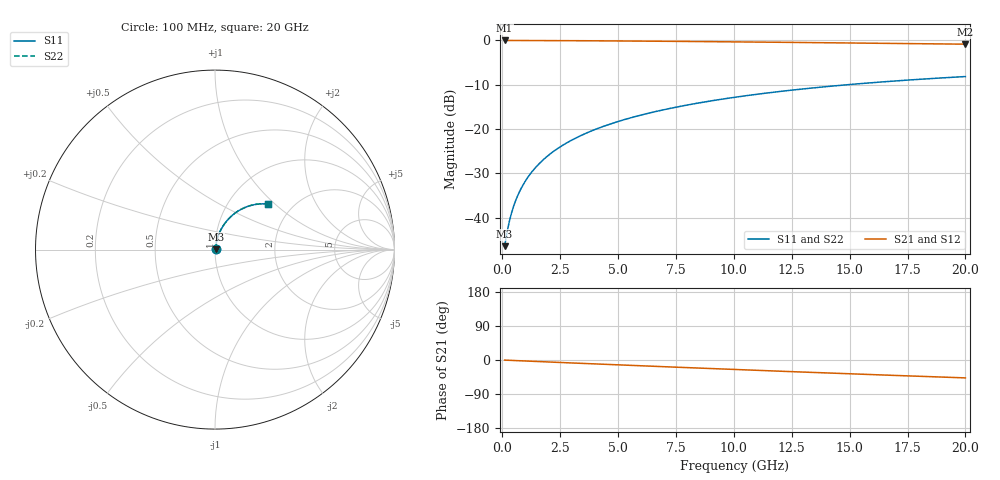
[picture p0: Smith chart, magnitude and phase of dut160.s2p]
! Touchstone file exported from HFSS 2026.1.0
!  File:  C:/ffzhzh/LocalFiles/Ansys_Project_Files/temp_train_TMRDL_160_1782983280_42984.aedt
!  Generated:  05:09:18 PM Jul  2, 2026
!  Design:  TMRDL
!  Project:  temp_train_TMRDL_160_1782983280_42984
! Variables:
!  h_bsmrdl = 2um
!  h_ox = 20um
!  h_rdl = 5um
!  h_sub = 80um
!  h_tmrdl = 5.95um
!  h_tsv = 80um
!  h_via = 3um
!  l_bsmrdl = 300um
!  l_sub = 1158.39um
!  l_tmrdl = 758.39um
!  m_sub = 200um
!  pitch = 30.28um
!  r_tsv = 6um
!  s_tmrdl = 10um
!  w_bsmrdl = 18um
!  w_sub = 500um
!  w_tmrdl = 11.62um
!  x_tsv_center1 = 764.2um
!  x_tsv_center2 = 1082.2um
!  x_tsv_center3 = 1852.21um
!  x_tsv_center4 = 2170.21um
!  x_tsv_center5 = 2940.22um
!  x_tsv_center6 = 3258.22um
# GHz S MA R 50.000000
! Terminal data exported
! Port[1] = TM_RDL1_1_T1
! Port[2] = TM_RDL1_1_T2
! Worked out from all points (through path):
!   200 points, 100 MHz to 20 GHz, reference 50 ohm
!   highest |S21| = -0.03 dB at 100 MHz (marker M1); lowest = -0.9 dB at 20 GHz (marker M2)
!   group delay of S21, straight-line fit = 6.55 ps
!   lowest |S11| = -46.4 dB at 100 MHz (marker M3), VSWR 1.01, Z = 50.4 + j0.272 ohm
!   |S11| at or under -10 dB: start of sweep to 14.94 GHz
!   |S22| runs from -46.4 to -8.2 dB; largest |S21 - S12| = 1.4e-14
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0.1  0.004772 34.4  0.9961 -0.3  0.9961 -0.3  0.004772 34.4
! Gamma 0 0 0 0
! Port Impedance 50 0 50 0
0.2  0.006721 52.4  0.9959 -0.5  0.9959 -0.5  0.006721 52.4
0.3  0.008978 61.4  0.9958 -0.8  0.9958 -0.8  0.008978 61.4
0.4  0.01133 66.6  0.9957 -1.1  0.9957 -1.1  0.01133 66.6
0.5  0.01372 70.0  0.9955 -1.3  0.9955 -1.3  0.01372 70.0
0.6  0.01614 72.3  0.9954 -1.6  0.9954 -1.6  0.01614 72.3
0.8  0.02103 75.2  0.9952 -2.1  0.9952 -2.1  0.02103 75.2
1.1  0.02844 77.3  0.9948 -2.9  0.9948 -2.9  0.02844 77.3
1.3  0.03339 78.0  0.9945 -3.4  0.9945 -3.4  0.03339 78.0
1.6  0.04082 78.4  0.994 -4.2  0.994 -4.2  0.04082 78.4
2.1  0.05312 78.3  0.9929 -5.5  0.9929 -5.5  0.05312 78.3
2.7  0.06772 77.6  0.9913 -7.0  0.9913 -7.0  0.06772 77.6
3.5  0.08681 76.1  0.9889 -9.1  0.9889 -9.1  0.08681 76.1
4.2  0.1032 74.6  0.9865 -10.8  0.9865 -10.8  0.1032 74.6
5  0.1215 72.9  0.9835 -12.8  0.9835 -12.8  0.1215 72.9
5.9  0.1416 70.9  0.9799 -15.1  0.9799 -15.1  0.1416 70.9
6.8  0.1612 68.9  0.9761 -17.3  0.9761 -17.3  0.1612 68.9
8.3  0.1928 65.5  0.9692 -20.9  0.9692 -20.9  0.1928 65.5
10.1  0.2291 61.5  0.9602 -25.2  0.9602 -25.2  0.2291 61.5
13.4  0.2902 54.3  0.9423 -32.8  0.9423 -32.8  0.2902 54.3
16.7  0.344 47.3  0.9233 -40.1  0.9233 -40.1  0.344 47.3
20  0.3902 40.5  0.9044 -47.2  0.9044 -47.2  0.3903 40.5
